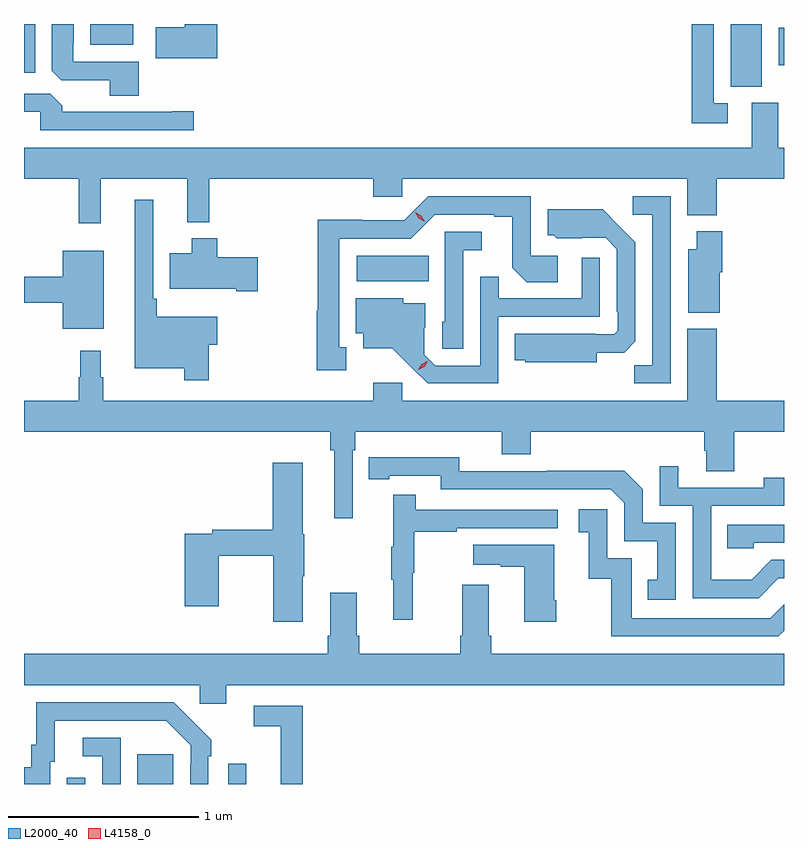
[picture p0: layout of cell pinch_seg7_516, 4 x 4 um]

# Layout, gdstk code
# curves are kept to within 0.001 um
import gdstk
lib = gdstk.Library(unit=1e-6, precision=1e-09)
def R(c, l, rs):  # rectangles x0, y0, x1, y1
    for r in rs: c.add(gdstk.rectangle(r[:2], r[2:], *l))
def P(c, l, *ps):  # polygons
    for p in ps: c.add(gdstk.Polygon(p, *l))
L2000_40 = (2000, 40)
L4158_0 = (4158, 0)

pinch_seg7_516 = lib.new_cell('pinch_seg7_516')
R(pinch_seg7_516, L2000_40, [(170.484,1058.703,170.58,1058.737), (170.855,1058.703,171.043,1058.86), (171.333,1058.703,171.429,1058.809), (172.008,1061.348,172.388,1061.482), (173.978,1062.373,174.142,1062.703), (170.258,1062.446,170.317,1062.703), (174.23,1062.485,174.258,1062.682), (170.606,1062.593,170.833,1062.703)])
P(pinch_seg7_516, L2000_40, [(171.274,1062.703),(171.104,1062.703),(171.104,1062.687),(170.952,1062.687),(170.952,1062.524),(171.274,1062.524)],
  [(170.861,1062.504),(170.517,1062.504),(170.517,1062.601),(170.521,1062.601),(170.521,1062.703),(170.405,1062.703),(170.405,1062.457),(170.454,1062.408),(170.708,1062.408),(170.708,1062.325),(170.861,1062.325)],
  [(173.962,1062.285),(173.889,1062.285),(173.889,1062.703),(173.773,1062.703),(173.773,1062.18),(173.962,1062.18)],
  [(171.151,1062.245),(171.038,1062.245),(171.038,1062.24),(170.459,1062.24),(170.459,1062.274),(170.397,1062.336),(170.258,1062.336),(170.258,1062.24),(170.343,1062.24),(170.343,1062.144),(171.151,1062.144)],
  [(170.663,1061.888),(171.116,1061.888),(171.116,1061.66),(171.233,1061.66),(171.233,1061.888),(172.097,1061.888),(172.097,1061.795),(172.248,1061.795),(172.248,1061.888),(173.75,1061.888),(173.75,1061.696),(173.903,1061.696),(173.903,1061.888),(174.258,1061.888),(174.258,1062.052),(174.229,1062.052),(174.229,1062.288),(174.089,1062.288),(174.089,1062.052),(170.258,1062.052),(170.258,1061.888),(170.545,1061.888),(170.545,1061.655),(170.663,1061.655)],
  [(171.955,1061.001),(171.916,1061.001),(171.916,1061.574),(172.293,1061.574),(172.419,1061.7),(172.733,1061.7),(172.733,1061.688),(172.827,1061.688),(172.827,1061.42),(172.903,1061.344),(173.068,1061.344),(173.068,1061.484),(172.926,1061.484),(172.926,1061.796),(172.386,1061.796),(172.26,1061.67),(172.038,1061.67),(172.038,1061.672),(171.805,1061.672),(171.805,1061.193),(171.798,1061.193),(171.798,1060.881),(171.955,1060.881)],
  [(173.661,1061.796),(173.463,1061.796),(173.463,1061.7),(173.565,1061.7),(173.565,1060.907),(173.47,1060.907),(173.47,1060.812),(173.661,1060.812)],
  [(171.23,1061.014),(171.274,1061.014),(171.274,1061.161),(170.957,1061.161),(170.957,1061.257),(170.937,1061.257),(170.937,1061.779),(170.84,1061.779),(170.84,1060.892),(171.102,1060.892),(171.102,1060.827),(171.23,1060.827)],
  [(173.272,1060.973),(173.416,1060.973),(173.475,1061.032),(173.475,1061.554),(173.303,1061.728),(173.015,1061.728),(173.015,1061.592),(173.046,1061.592),(173.062,1061.576),(173.319,1061.577),(173.379,1061.517),(173.379,1061.188),(173.382,1061.188),(173.382,1061.088),(173.364,1061.07),(173.264,1061.07),(173.264,1061.074),(172.84,1061.074),(172.84,1060.934),(172.896,1060.934),(172.896,1060.922),(173.272,1060.922)],
  [(173.92,1061.397),(173.933,1061.397),(173.933,1061.611),(173.798,1061.611),(173.798,1061.518),(173.753,1061.518),(173.753,1061.183),(173.92,1061.183)],
  [(172.569,1061.513),(172.666,1061.513),(172.666,1061.61),(172.473,1061.61),(172.473,1061.136),(172.458,1061.136),(172.458,1060.993),(172.569,1060.993)],
  [(171.487,1061.475),(171.275,1061.475),(171.275,1061.575),(171.14,1061.575),(171.14,1061.497),(171.026,1061.497),(171.026,1061.309),(171.374,1061.309),(171.374,1061.297),(171.487,1061.297)],
  [(170.677,1061.509),(170.462,1061.509),(170.462,1061.372),(170.258,1061.372),(170.258,1061.236),(170.462,1061.236),(170.462,1061.099),(170.677,1061.099)],
  [(172.755,1061.163),(173.289,1061.163),(173.289,1061.473),(173.193,1061.473),(173.193,1061.259),(172.757,1061.259),(172.757,1061.372),(172.659,1061.372),(172.659,1060.905),(172.422,1060.905),(172.365,1060.962),(172.365,1061.104),(172.369,1061.104),(172.369,1061.233),(172.254,1061.233),(172.254,1061.26),(172.004,1061.26),(172.004,1061.076),(172.043,1061.076),(172.043,1060.997),(172.195,1060.997),(172.382,1060.812),(172.755,1060.812)],
  [(171.987,1060.46),(172.001,1060.46),(172.001,1060.556),(172.772,1060.556),(172.772,1060.439),(172.925,1060.439),(172.925,1060.556),(173.837,1060.556),(173.837,1060.458),(173.849,1060.458),(173.849,1060.348),(173.997,1060.348),(173.997,1060.556),(174.258,1060.556),(174.258,1060.72),(173.903,1060.72),(173.903,1061.098),(173.75,1061.098),(173.75,1060.72),(172.248,1060.72),(172.248,1060.816),(172.097,1060.816),(172.097,1060.72),(170.674,1060.72),(170.674,1060.844),(170.662,1060.844),(170.662,1060.984),(170.553,1060.984),(170.553,1060.844),(170.545,1060.844),(170.545,1060.72),(170.258,1060.72),(170.258,1060.556),(171.871,1060.556),(171.871,1060.46),(171.89,1060.46),(171.89,1060.101),(171.987,1060.101)],
  [(173.688,1060.077),(173.514,1060.077),(173.514,1060.254),(173.416,1060.352),(173.008,1060.352),(173.008,1060.35),(172.548,1060.35),(172.548,1060.423),(172.072,1060.422),(172.072,1060.306),(172.18,1060.306),(172.18,1060.326),(172.452,1060.326),(172.452,1060.254),(173.346,1060.254),(173.418,1060.182),(173.418,1059.981),(173.591,1059.981),(173.591,1059.777),(173.542,1059.777),(173.542,1059.672),(173.688,1059.672)],
  [(171.724,1059.796),(171.732,1059.796),(171.732,1060.017),(171.724,1060.017),(171.724,1060.393),(171.566,1060.393),(171.566,1060.04),(171.25,1060.04),(171.25,1060.02),(171.104,1060.02),(171.104,1059.639),(171.282,1059.639),(171.282,1059.904),(171.571,1059.904),(171.571,1059.558),(171.724,1059.558)],
  [(174.229,1059.786),(174.258,1059.786),(174.258,1059.882),(174.192,1059.882),(174.088,1059.778),(173.874,1059.778),(173.874,1060.167),(174.258,1060.167),(174.258,1060.315),(174.152,1060.315),(174.152,1060.263),(173.701,1060.263),(173.701,1060.375),(173.604,1060.375),(173.604,1060.167),(173.778,1060.167),(173.778,1059.681),(174.124,1059.681)],
  [(172.304,1059.816),(172.312,1059.816),(172.312,1060.03),(172.535,1060.03),(172.535,1060.05),(173.068,1060.05),(173.068,1060.146),(172.319,1060.146),(172.319,1060.225),(172.202,1060.225),(172.202,1059.953),(172.191,1059.953),(172.191,1059.779),(172.202,1059.779),(172.202,1059.567),(172.304,1059.567)],
  [(174.258,1059.51),(174.258,1059.648),(174.186,1059.576),(173.457,1059.576),(173.457,1059.891),(173.328,1059.891),(173.328,1060.15),(173.178,1060.15),(173.178,1060.029),(173.231,1060.029),(173.231,1059.783),(173.349,1059.783),(173.349,1059.48),(174.228,1059.48)],
  [(174.099,1059.972),(174.258,1059.972),(174.258,1060.068),(173.959,1060.068),(173.959,1059.945),(174.099,1059.945)],
  [(173.058,1059.67),(173.05,1059.67),(173.05,1059.961),(172.623,1059.961),(172.623,1059.857),(172.766,1059.857),(172.766,1059.847),(172.892,1059.847),(172.892,1059.558),(173.058,1059.558)],
  [(171.322,1059.224),(174.258,1059.224),(174.258,1059.388),(172.718,1059.388),(172.718,1059.484),(172.705,1059.484),(172.705,1059.751),(172.565,1059.751),(172.565,1059.484),(172.553,1059.484),(172.553,1059.388),(172.022,1059.388),(172.022,1059.484),(172.009,1059.484),(172.009,1059.709),(171.869,1059.709),(171.869,1059.484),(171.857,1059.484),(171.857,1059.388),(170.258,1059.388),(170.258,1059.224),(171.183,1059.224),(171.183,1059.126),(171.322,1059.126)],
  [(170.395,1058.82),(170.419,1058.82),(170.419,1059.036),(171.007,1059.036),(171.135,1058.907),(171.135,1058.807),(171.132,1058.807),(171.132,1058.703),(171.228,1058.703),(171.228,1058.849),(171.243,1058.849),(171.243,1058.937),(171.046,1059.132),(170.322,1059.132),(170.322,1058.91),(170.297,1058.91),(170.297,1058.791),(170.258,1058.791),(170.258,1058.703),(170.395,1058.703)],
  [(171.725,1059.114),(171.468,1059.114),(171.468,1059.006),(171.608,1059.006),(171.608,1058.703),(171.725,1058.703)],
  [(170.766,1058.946),(170.568,1058.946),(170.568,1058.85),(170.67,1058.85),(170.67,1058.703),(170.766,1058.703)])
P(pinch_seg7_516, L4158_0, [(172.334,1060.883),(172.334,1060.883),(172.351,1060.913),(172.381,1060.929),(172.382,1060.929),(172.382,1060.929),(172.365,1060.899),(172.334,1060.883)],
  [(172.366,1061.661),(172.335,1061.68),(172.317,1061.712),(172.317,1061.713),(172.317,1061.713),(172.349,1061.694),(172.367,1061.661),(172.367,1061.661)])

lib.write_gds('pinch_seg7_516.gds')
